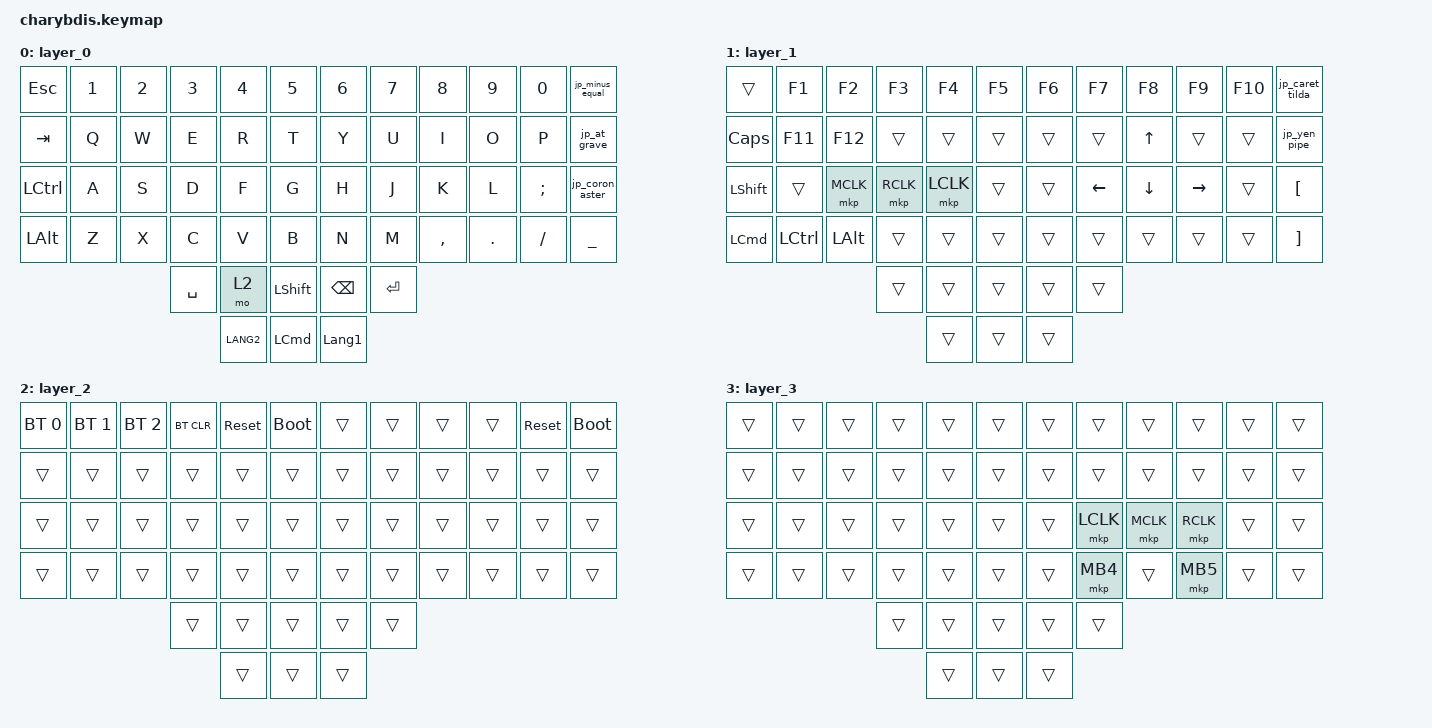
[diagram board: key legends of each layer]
#include <behaviors.dtsi>
#include <dt-bindings/zmk/bt.h>
#include <dt-bindings/zmk/keys.h>
#include <dt-bindings/zmk/pointing.h>

&lt {
    tapping-term-ms = <200>;
    flavor = "balanced";
    quick-tap-ms = <150>;
};

/ {
    // OS設定を日本語キーボードのまま使用するための変換定義

    #define JP_DQUOTE       AT                // "
    #define JP_AMPERSAND    CARET             // &
    #define JP_QUOTE        AMPERSAND         // '
    #define JP_EQUAL        UNDER             // =
    #define JP_CARET        EQUAL             // ^
    #define JP_YEN          0x89              // ¥
    #define JP_PLUS         COLON             // +
    #define JP_TILDE        PLUS              // ~
    #define JP_PIPE         LS(0x89)          // |
    #define JP_AT           LEFT_BRACKET      // @
    #define JP_COLON        SINGLE_QUOTE      // :
    #define JP_ASTERISK     DOUBLE_QUOTES     // *
    #define JP_BACKQUOTE    LEFT_BRACE        // `
    #define JP_UNDERSCORE   LS(0x87)          // _
    #define JP_LBRACKET     RIGHT_BRACKET     // [
    #define JP_RBRACKET     BACKSLASH         // ]
    #define JP_LPAREN       ASTERISK          // (
    #define JP_RPAREN       LEFT_PARENTHESIS  // )
    #define JP_LBRACE       RIGHT_BRACE       // {
    #define JP_RBRACE       PIPE              // }
    combos {
        compatible = "zmk,combos";

        cmd+cntrl+alt {
            bindings = <&kp LC(LA(LEFT_COMMAND))>;
            key-positions = <36 37 38>;
        };

        cmd+cntrl {
            bindings = <&kp LC(LEFT_COMMAND)>;
            key-positions = <36 37>;
        };

        left-click {
            bindings = <&mkp LCLK>;
            key-positions = <32 31>;
        };

        right-click {
            bindings = <&mkp RCLK>;
            key-positions = <33 32>;
        };

        center-click {
            bindings = <&mkp MCLK>;
            key-positions = <31 32 33>;
        };

        layer0 {
            bindings = <&to 0>;
            key-positions = <0 11>;
        };

        setting_layer {
            bindings = <&to 3>;
            key-positions = <0 23>;
        };

        mouse_prev {
            bindings = <&mkp MB4>;
            key-positions = <43 44>;
        };

        mouse_next {
            bindings = <&mkp MB5>;
            key-positions = <45 44>;
        };
    };

    behaviors {
        jp_minus_equal: jp_minus_equal {
            compatible = "zmk,behavior-mod-morph";
            label = "JP_MINUS_EQUAL";
            bindings = <&kp MINUS>, <&kp JP_EQUAL>;

            #binding-cells = <0>;
            mods = <(MOD_LSFT|MOD_RSFT)>;
            keep-mods = <(MOD_LSFT|MOD_RSFT)>;
        };

        jp_coron_aster: jp_coron_aster {
            compatible = "zmk,behavior-mod-morph";
            label = "JP_CORON_ASTER";
            bindings = <&kp JP_COLON>, <&kp JP_ASTERISK>;

            #binding-cells = <0>;
            mods = <(MOD_LSFT|MOD_RSFT)>;
            keep-mods = <(MOD_RSFT|MOD_LSFT)>;
        };

        jp_at_grave: jp_at_grave {
            compatible = "zmk,behavior-mod-morph";
            label = "JP_AT_GRAVE";
            bindings = <&kp JP_AT>, <&kp JP_BACKQUOTE>;

            #binding-cells = <0>;
            mods = <(MOD_LSFT|MOD_RSFT)>;
            keep-mods = <(MOD_LSFT|MOD_RSFT)>;
        };

        jp_yen_pipe: jp_yen_pipe {
            compatible = "zmk,behavior-mod-morph";
            label = "JP_YEN_PIPE";
            bindings = <&kp INT_YEN>, <&kp JP_PIPE>;

            #binding-cells = <0>;
            mods = <(MOD_LSFT|MOD_RSFT)>;
            keep-mods = <(MOD_LSFT|MOD_RSFT)>;
        };

        jp_caret_tilda: jp_caret_tilda {
            compatible = "zmk,behavior-mod-morph";
            label = "JP_CARET_TILDA";
            bindings = <&kp JP_CARET>, <&kp JP_TILDE>;

            #binding-cells = <0>;
            mods = <(MOD_LSFT|MOD_RSFT)>;
            keep-mods = <(MOD_LSFT|MOD_RSFT)>;
        };
    };

    keymap {
        compatible = "zmk,keymap";

        layer_0 {
            bindings = <
&kp ESC           &kp N1  &kp N2  &kp N3     &kp N4     &kp N5              &kp N6          &kp N7     &kp N8     &kp N9      &kp N0    &jp_minus_equal
&kp TAB           &kp Q   &kp W   &kp E      &kp R      &kp T               &kp Y           &kp U      &kp I      &kp O       &kp P     &jp_at_grave
&kp LEFT_CONTROL  &kp A   &kp S   &kp D      &kp F      &kp G               &kp H           &kp J      &kp K      &kp L       &kp SEMI  &jp_coron_aster
&kp LEFT_ALT      &kp Z   &kp X   &kp C      &kp V      &kp B               &kp N           &kp M      &kp COMMA  &kp PERIOD  &kp FSLH  &kp UNDERSCORE
                                  &kp SPACE  &mo 2      &kp LEFT_SHIFT      &kp BACKSPACE   &kp ENTER
                                             &kp LANG2  &kp LEFT_COMMAND    &kp LANGUAGE_1
            >;

            // trackball-bindings = <&tmv_coarse>;
        };

        layer_1 {
            bindings = <
&trans            &kp F1            &kp F2        &kp F3     &kp F4     &kp F5    &kp F6  &kp F7    &kp F8    &kp F9     &kp F10  &jp_caret_tilda
&kp CAPS          &kp F11           &kp F12       &trans     &trans     &trans    &trans  &trans    &kp UP    &trans     &trans   &jp_yen_pipe
&kp LEFT_SHIFT    &trans            &mkp MCLK     &mkp RCLK  &mkp LCLK  &trans    &trans  &kp LEFT  &kp DOWN  &kp RIGHT  &trans   &kp LEFT_BRACKET
&kp LEFT_COMMAND  &kp LEFT_CONTROL  &kp LEFT_ALT  &trans     &trans     &trans    &trans  &trans    &trans    &trans     &trans   &kp RIGHT_BRACKET
                                                  &trans     &trans     &trans    &trans  &trans
                                                             &trans     &trans    &trans
            >;

            // trackball-bindings = <&tsl>;
        };

        layer_2 {
            bindings = <
&bt BT_SEL 0  &bt BT_SEL 1  &bt BT_SEL 2  &bt BT_CLR  &sys_reset  &bootloader    &trans  &trans  &trans  &trans  &sys_reset  &bootloader
&trans        &trans        &trans        &trans      &trans      &trans         &trans  &trans  &trans  &trans  &trans      &trans
&trans        &trans        &trans        &trans      &trans      &trans         &trans  &trans  &trans  &trans  &trans      &trans
&trans        &trans        &trans        &trans      &trans      &trans         &trans  &trans  &trans  &trans  &trans      &trans
                                          &trans      &trans      &trans         &trans  &trans
                                                      &trans      &trans         &trans
            >;

            // trackball-bindings = <&tmv_coarse>;
        };

        layer_3 {
            bindings = <
&trans  &trans  &trans  &trans  &trans  &trans    &trans  &trans     &trans     &trans     &trans  &trans
&trans  &trans  &trans  &trans  &trans  &trans    &trans  &trans     &trans     &trans     &trans  &trans
&trans  &trans  &trans  &trans  &trans  &trans    &trans  &mkp LCLK  &mkp MCLK  &mkp RCLK  &trans  &trans
&trans  &trans  &trans  &trans  &trans  &trans    &trans  &mkp MB4   &trans     &mkp MB5   &trans  &trans
                        &trans  &trans  &trans    &trans  &trans
                                &trans  &trans    &trans
            >;
        };

        /* layer_4 {
            bindings = <
&trans  &trans  &trans     &trans     &trans     &trans       &trans     &trans     &trans     &trans     &trans  &trans
&trans  &trans  &trans     &trans     &trans     &trans       &trans     &trans     &trans     &trans     &trans  &trans
&trans  &trans  &trans     &mkp MCLK  &trans     &trans       &trans     &trans     &mkp MCLK  &trans     &trans  &trans
&trans  &trans  &mkp RCLK  &trans     &mkp LCLK  &trans       &trans     &mkp LCLK  &trans     &mkp RCLK  &trans  &trans
                           &trans     &mkp LCLK  &mkp RCLK    &mkp RCLK  &mkp LCLK
                                      &trans     &trans       &trans
            >;
                
                
                trackball-bindings = <&tsl>;
        };

        layer_5 {
            bindings = <
&trans  &trans  &trans     &trans     &trans     &trans       &trans     &trans     &trans     &trans     &trans  &trans
&trans  &trans  &trans     &trans     &trans     &trans       &trans     &trans     &trans     &trans     &trans  &trans
&trans  &trans  &trans     &mkp MCLK  &trans     &trans       &trans     &trans     &mkp MCLK  &trans     &trans  &trans
&trans  &trans  &mkp RCLK  &trans     &mkp LCLK  &trans       &trans     &mkp LCLK  &trans     &mkp RCLK  &trans  &trans
                           &trans     &mkp LCLK  &mkp RCLK    &mkp RCLK  &mkp LCLK
                                      &trans     &trans       &trans
            >;
                trackball-bindings = <&tmv_fine>;
                
        };*/
    };
};
